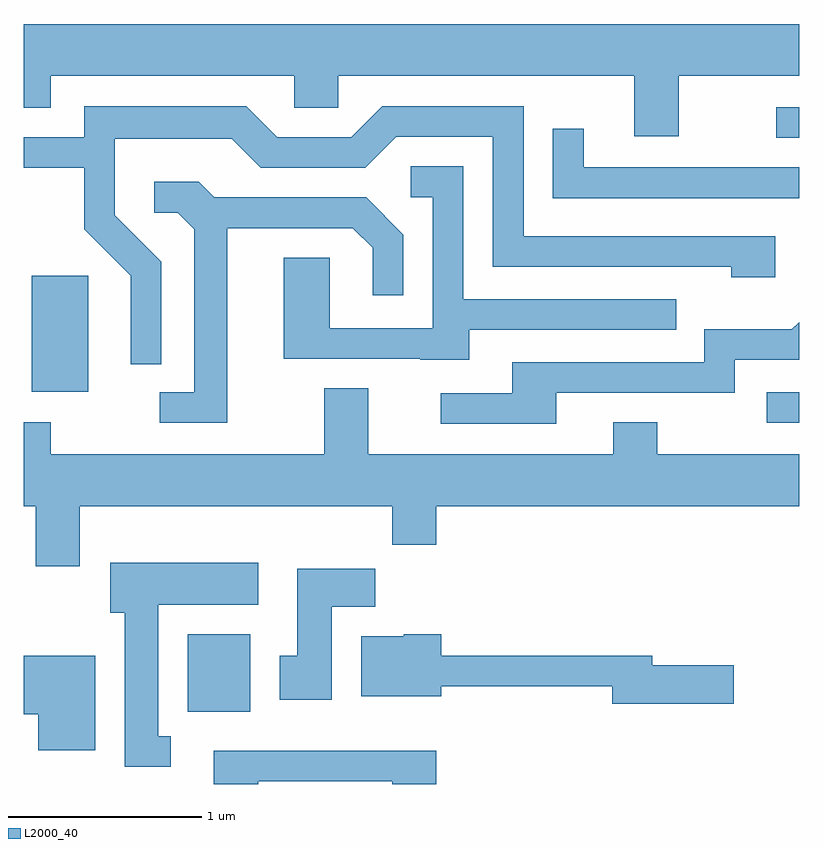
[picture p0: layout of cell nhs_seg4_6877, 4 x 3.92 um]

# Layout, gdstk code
import gdstk
lib = gdstk.Library(unit=1e-6, precision=1e-09)
def R(c, l, rs):  # rectangles x0, y0, x1, y1
    for r in rs: c.add(gdstk.rectangle(r[:2], r[2:], *l))
def P(c, l, *ps):  # polygons
    for p in ps: c.add(gdstk.Polygon(p, *l))
L2000_40 = (2000, 40)

nhs_seg4_6877 = lib.new_cell('nhs_seg4_6877')
R(nhs_seg4_6877, L2000_40, [(388.456,1280.356,388.779,1280.754), (391.443,1281.846,391.611,1282.004), (387.651,1282.006,387.944,1282.604), (391.493,1283.316,391.611,1283.474)])
P(nhs_seg4_6877, L2000_40, [(390.989,1283.636),(391.611,1283.636),(391.611,1283.904),(387.611,1283.904),(387.611,1283.471),(387.749,1283.471),(387.749,1283.636),(389.006,1283.636),(389.006,1283.471),(389.234,1283.471),(389.234,1283.636),(390.761,1283.636),(390.761,1283.326),(390.989,1283.326)],
  [(388.319,1282.677),(388.079,1282.917),(388.079,1283.311),(388.684,1283.311),(388.834,1283.161),(389.372,1283.161),(389.532,1283.321),(390.031,1283.321),(390.031,1282.651),(391.261,1282.651),(391.261,1282.596),(391.489,1282.596),(391.489,1282.809),(390.189,1282.809),(390.189,1283.479),(389.459,1283.479),(389.299,1283.319),(388.917,1283.319),(388.757,1283.479),(387.921,1283.479),(387.921,1283.319),(387.611,1283.319),(387.611,1283.161),(387.921,1283.161),(387.921,1282.844),(388.161,1282.604),(388.161,1282.148),(388.319,1282.148)],
  [(391.611,1283.164),(390.499,1283.164),(390.499,1283.363),(390.341,1283.363),(390.341,1283.006),(391.611,1283.006)],
  [(389.909,1282.326),(390.978,1282.326),(390.978,1282.484),(389.879,1282.484),(389.879,1283.169),(389.608,1283.169),(389.608,1283.011),(389.721,1283.011),(389.721,1282.334),(389.189,1282.334),(389.189,1282.699),(388.951,1282.699),(388.951,1282.176),(389.655,1282.176),(389.655,1282.171),(389.909,1282.171)],
  [(388.659,1282.851),(389.309,1282.851),(389.411,1282.749),(389.411,1282.503),(389.569,1282.503),(389.569,1282.817),(389.377,1283.009),(388.592,1283.009),(388.512,1283.089),(388.283,1283.089),(388.283,1282.931),(388.404,1282.931),(388.491,1282.844),(388.491,1282.004),(388.313,1282.004),(388.313,1281.846),(388.659,1281.846)],
  [(390.359,1282.001),(391.279,1282.001),(391.279,1282.171),(391.611,1282.171),(391.611,1282.366),(391.574,1282.329),(391.121,1282.329),(391.121,1282.159),(390.131,1282.159),(390.131,1281.999),(389.763,1281.999),(389.763,1281.841),(390.359,1281.841)],
  [(387.899,1281.416),(389.511,1281.416),(389.511,1281.216),(389.739,1281.216),(389.739,1281.416),(391.611,1281.416),(391.611,1281.684),(390.879,1281.684),(390.879,1281.849),(390.651,1281.849),(390.651,1281.684),(389.389,1281.684),(389.389,1282.024),(389.161,1282.024),(389.161,1281.684),(387.749,1281.684),(387.749,1281.849),(387.611,1281.849),(387.611,1281.416),(387.671,1281.416),(387.671,1281.106),(387.899,1281.106)],
  [(388.368,1280.229),(388.304,1280.229),(388.304,1280.906),(388.819,1280.906),(388.819,1281.124),(388.056,1281.124),(388.056,1280.866),(388.131,1280.866),(388.131,1280.071),(388.368,1280.071)],
  [(389.199,1280.896),(389.424,1280.896),(389.424,1281.094),(389.021,1281.094),(389.021,1280.644),(388.931,1280.644),(388.931,1280.416),(389.199,1280.416)],
  [(391.274,1280.594),(390.854,1280.594),(390.854,1280.644),(389.764,1280.644),(389.764,1280.754),(389.57,1280.754),(389.57,1280.744),(389.351,1280.744),(389.351,1280.436),(389.764,1280.436),(389.764,1280.486),(390.646,1280.486),(390.646,1280.396),(391.274,1280.396)],
  [(387.979,1280.644),(387.611,1280.644),(387.611,1280.341),(387.686,1280.341),(387.686,1280.156),(387.979,1280.156)],
  [(388.819,1279.996),(389.511,1279.996),(389.511,1279.982),(389.739,1279.982),(389.739,1280.154),(388.591,1280.154),(388.591,1279.982),(388.819,1279.982)])

lib.write_gds('nhs_seg4_6877.gds')
